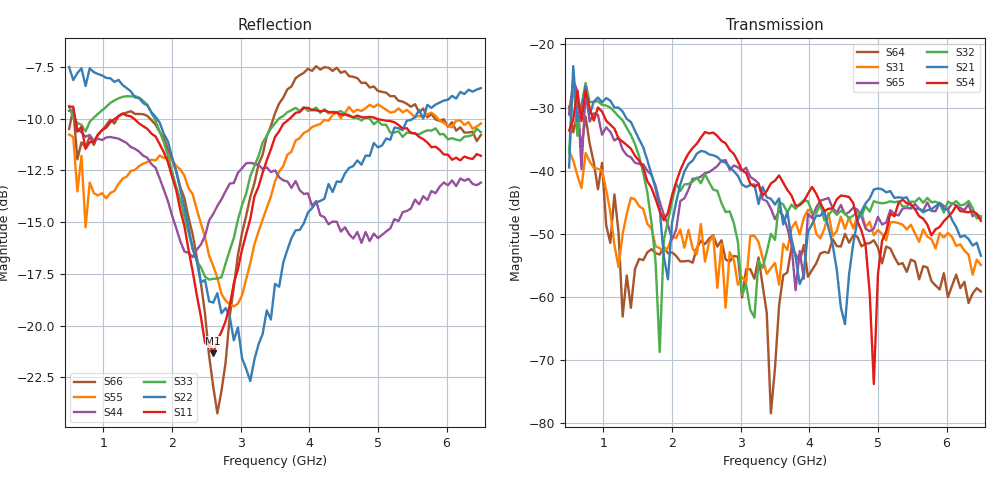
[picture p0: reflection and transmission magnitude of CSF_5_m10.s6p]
!Keysight Technologies,M9804A,MY58100912,A.14.10.03
!Date: Thursday, April 27, 2023 10:28:33
!Correction: S11(C  6-Port  )
!S12(C  6-Port  )
!S13(C  6-Port  )
!S14(C  6-Port  )
!S15(C  6-Port  )
!S16(C  6-Port  )
!S21(C  6-Port  )
!S22(C  6-Port  )
!S23(C  6-Port  )
!S24(C  6-Port  )
!S25(C  6-Port  )
!S26(C  6-Port  )
!S31(C  6-Port  )
!S32(C  6-Port  )
!S33(C  6-Port  )
!S34(C  6-Port  )
!S35(C  6-Port  )
!S36(C  6-Port  )
!S41(C  6-Port  )
!S42(C  6-Port  )
!S43(C  6-Port  )
!S44(C  6-Port  )
!S45(C  6-Port  )
!S46(C  6-Port  )
!S51(C  6-Port  )
!S52(C  6-Port  )
!S53(C  6-Port  )
!S54(C  6-Port  )
!S55(C  6-Port  )
!S56(C  6-Port  )
!S61(C  6-Port  )
!S62(C  6-Port  )
!S63(C  6-Port  )
!S64(C  6-Port  )
!S65(C  6-Port  )
!S66(C  6-Port  )
!S6P File: Measurement: :
# Hz S  RI  R 50
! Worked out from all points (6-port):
!   101 points, 500 MHz to 6.5 GHz, reference 50 ohm
!   strongest paths, dB at 500 MHz, 2 GHz, 3.5 GHz, 5 GHz, 6.5 GHz:
!     S54: -33.6, -43.9, -41.6, -56.3, -47.9
!     S21: -39.5, -48.2, -45.4, -42.8, -53.4
!     S32: -37.2, -45.0, -50.9, -45.0, -47.2
!     S65: -31.1, -50.9, -47.7, -47.3, -47.5
!     S31: -36.9, -50.5, -54.6, -49.4, -54.9
!     S64: -29.8, -52.9, -71.2, -52.2, -59.1
!   lowest |S11| = -21.4 dB at 2.6 GHz (marker M1), VSWR 1.19, Z = 42.4 + j2.17 ohm
!   |S11| at or under -10 dB: 589 MHz to 1.168 GHz (579.2 MHz wide, 65.9 % of centre); 1.446 GHz to 3.712 GHz (2.266 GHz wide, 87.9 % of centre); 4.983 GHz to end of sweep
